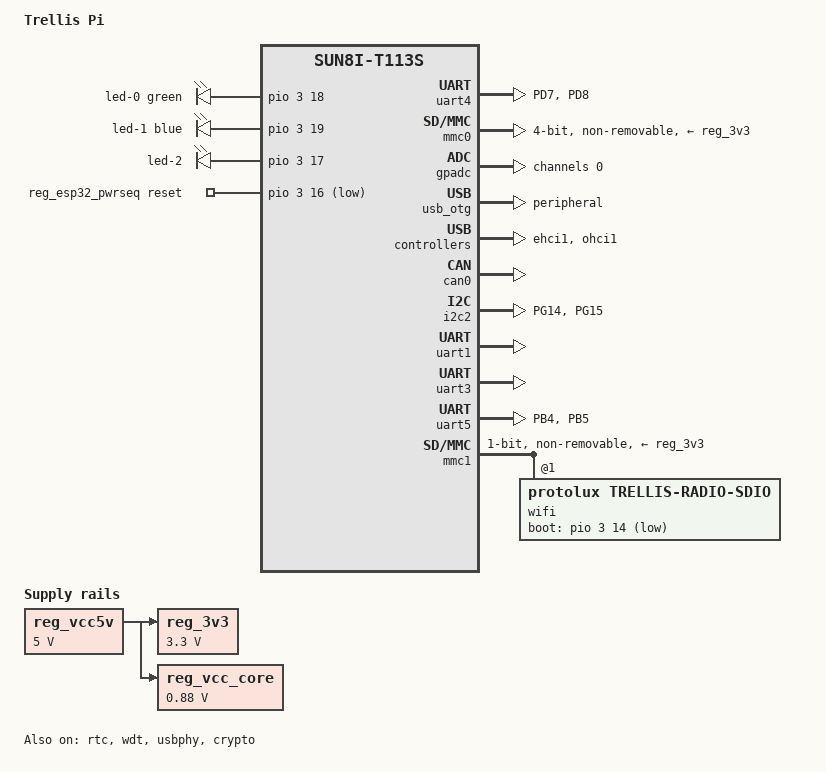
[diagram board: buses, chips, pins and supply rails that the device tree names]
// SPDX-License-Identifier: (GPL-2.0+ OR MIT)
// Copyright (C) 2022 Arm Ltd.
// Copyright (C) 2024 Connor Rigby <connorr@hey.com>

#include <dt-bindings/interrupt-controller/irq.h>

/dts-v1/;

#include <arm/allwinner/sun8i-t113s.dtsi>

#include <dt-bindings/gpio/gpio.h>
#include <dt-bindings/input/input.h>
#include <dt-bindings/leds/common.h>
#include <dt-bindings/pwm/pwm.h>

/ {
    model = "Trellis Pi";
    compatible = "protolux,trellis-pi", "allwinner,sun8i-t113s", "allwinner,sun8i";

    aliases {
      serial1 = &uart1;
      serial3 = &uart3;
      serial4 = &uart4;
      serial5 = &uart5;
      /*
      * Pin MMC controller indices so the on-board storage chip is always
      * mmcblk0 and the ESP32 is always mmcblk1. Without
      * these aliases the Linux MMC core assigns host->index by probe
      * completion order, which races between the two controllers.
      */
      mmc0 = &mmc0;
      mmc1 = &mmc1;
      };

    chosen {
        stdout-path = "serial4:115200n8";
    };

    leds {
        compatible = "gpio-leds";

        led-0 {
            color = <LED_COLOR_ID_GREEN>;
            function = LED_FUNCTION_STATUS;
            gpios = <&pio 3 18 GPIO_ACTIVE_HIGH>; /* PD18 */
            linux,default-trigger = "heartbeat";
        };

        led-1 {
            color = <LED_COLOR_ID_BLUE>;
            function = LED_FUNCTION_INDICATOR;
            gpios = <&pio 3 19 GPIO_ACTIVE_HIGH>; /* PD19 */
        };

        led-2 {
            function = "wlan";
            gpios = <&pio 3 17 GPIO_ACTIVE_HIGH>; /* PD17 */
            linux,default-trigger = "netdev";
        };
    };

    reg_vcc5v: regulator-5v {
        compatible = "regulator-fixed";
        regulator-name = "vcc-5v";
        regulator-min-microvolt = <5000000>;
        regulator-max-microvolt = <5000000>;
        regulator-always-on;
    };

    reg_3v3: regulator-3v3 {
        compatible = "regulator-fixed";
        regulator-name = "vcc-3v3";
        regulator-min-microvolt = <3300000>;
        regulator-max-microvolt = <3300000>;
        vin-supply = <&reg_vcc5v>;
        regulator-always-on;
    };

    reg_vcc_core: regulator-core {
        compatible = "regulator-fixed";
        regulator-name = "vcc-core";
        regulator-min-microvolt = <880000>;
        regulator-max-microvolt = <880000>;
        vin-supply = <&reg_vcc5v>;
        regulator-always-on;
    };

    /* ESP32C6 SDIO reset (EN pin), driven through the kernel's MMC
     * power-sequencing framework rather than a driver-owned GPIO toggle --
     * see ../../esp-hosted (trellis_radio driver)
     * knowledge_base/reset-and-power-sequencing.md for why. mmc-pwrseq-simple
     * is invoked by the MMC core's own mmc_power_up()/mmc_power_off(),
     * correctly serialized with mmc_rescan()/card re-enumeration. */
    reg_esp32_pwrseq: esp32-pwrseq {
        compatible = "mmc-pwrseq-simple";
        reset-gpios = <&pio 3 16 GPIO_ACTIVE_LOW>; /* PD16 = ESP_RESET */
        /* 200ms was the untuned starting value. Raised to 1800ms during the
         * same real-hardware session that found the bus-width=1 fix below
         * (see that comment) -- the firmware's application-level SDIO
         * slave HAL isn't ready to answer CCCR/FBR register access until
         * ~1.1-1.2s after enumeration, so this gives real margin before
         * mmc_rescan() even starts. Whether this delay alone was
         * necessary once bus-width=1 was also in place wasn't isolated
         * (both changed together); kept as a safety margin since it's
         * cheap and clearly can't hurt. */
        post-power-on-delay-ms = <1800>;
    };
};

&cpu0 {
    cpu-supply = <&reg_vcc_core>;
};

&cpu1 {
    cpu-supply = <&reg_vcc_core>;
};

&rtc {
    status = "okay";
};

&dcxo {
    clock-frequency = <24000000>;
};

&wdt {
    status = "okay";
};

&pio {
    vcc-pb-supply = <&reg_3v3>;
    vcc-pc-supply = <&reg_3v3>;
    vcc-pd-supply = <&reg_3v3>;
    vcc-pe-supply = <&reg_3v3>;
    vcc-pf-supply = <&reg_3v3>;
    vcc-pg-supply = <&reg_3v3>;

    gpio-line-names =
        /* PA */
        "","","","","","","","",
        "","","","","","","","",
        "","","","","","","","",
        "","","","","","","","",
        /* PB */
        "","","CAN0_TX","CAN0_RX","UART5_TX","UART5_RX","UART3_TX","UART3_RX",
        "","","","","","","","",
        "","","","","","","","",
        "","","","","","","","",
        /* PC */
        "","","CAN0_SIL","","","","","",
        "","","","","","","","",
        "","","","","","","","",
        "","","","","","","","",
        /* PD */
        "","","","","","","","UART4_TX",
        "UART4_RX","","","","","","ESP_BOOT","",
        "ESP_RESET","LED_GREEN","LED_BLUE","","","","","",
        "","","","","","","","",
        /* PE */
        "","","","","","","","",
        "","","","","","","","",
        "","","","","","","","",
        "","","","","","","","",
        /* PF */
        "","","","","","","","",
        "","","","","","","","",
        "","","","","","","","",
        "","","","","","","","",
        /* PG */
        "MMC1_CLK","MMC1_CMD","MMC1_D0","MMC1_D1","MMC1_D2","MMC1_D3","UART1_TX","UART1_RX",
        "UART1_RTS","","","","","","I2C2_SCL","I2C2_SDA",
        "","","","","","","","",
        "","","","","","","","";

    uart4_pd_pins: uart4-pd-pins {
        pins = "PD7", "PD8";
        function = "uart4";
    };

    /omit-if-no-ref/
    i2c2_pg_pins: i2c2-pg-pins {
        pins = "PG14", "PG15";
        function = "i2c2";
    };

    /omit-if-no-ref/
    uart5_pb_pins: uart5-pb-pins {
        pins = "PB4", "PB5";
        function = "uart5";
    };
};

/* shell */
&uart4 {
    pinctrl-names = "default";
    pinctrl-0 = <&uart4_pd_pins>;
    status = "okay";
};

&mmc0 {
    pinctrl-names = "default";
    pinctrl-0 = <&mmc0_pins>;
    vmmc-supply = <&reg_3v3>;
    disable-wp;
    bus-width = <4>;
    max-frequency = <50000000>;
    non-removable;
    broken-cd;
    no-1-8-v;
    status = "okay";
};

&gpadc {
    status = "okay";
    channel@0 {
        reg = <0>;
    };

};

&usb_otg {
    dr_mode = "peripheral";
    status = "okay";
};

&usbphy {
    status = "okay";
};

&ehci1 {
    status = "okay";
};

&ohci1 {
    status = "okay";
};

&spi0 {
    status = "disabled";
};

&spi1 {
    status = "disabled";
};

&mixer0 {
    status = "disabled";
};

&tcon_top {
    status = "disabled";
};

&tcon_lcd0 {
    status = "disabled";
};

&can0 {
    pinctrl-names = "default";
    pinctrl-0 = <&can0_pins>;
    silent-gpios = <&pio 2 2 GPIO_ACTIVE_HIGH>; /* PC2 */
    status = "okay";
};

&i2c2 {
    pinctrl-names = "default";
    pinctrl-0 = <&i2c2_pg_pins>;
    status = "okay";
};

/* ESP32C6 bootloader/download console + Bluetooth HCI (H4). Shares the
 * ROM-download-capable UART0 on the ESP32C6 side (TXD0/RXD0) so this same
 * wire also serves esptool recovery flashing via ESP_BOOT/ESP_RESET. See
 * ../../esp-hosted (trellis_radio) knowledge_base/bluetooth-uart-transport.md. */
&uart1 {
    pinctrl-names = "default";
    pinctrl-0 = <&uart1_pg6_pins>, <&uart1_pg8_rts_cts_pins>;
    uart-has-rtscts;
    linux,rs485-enabled-at-boot-time;
    rs485-rts-active-high;
    rs485-rts-delay-before-send = <1>;
    rs485-rts-delay-after-send = <1>;
    status = "okay";
};

&uart3 {
    pinctrl-names = "default";
    pinctrl-0 = <&uart3_pb_pins>;
    status = "okay";
};

/* ESP32C6 debug console/logs (IO12 TX / IO5 RX on the ESP32C6 side) --
 * enabled/disabled by the firmware's sdkconfig.defaults vs
 * sdkconfig.defaults.prod, not by switching this UART. */
&uart5 {
    pinctrl-names = "default";
    pinctrl-0 = <&uart5_pb_pins>;
    status = "okay";
};

&mmc1 {
    vmmc-supply = <&reg_3v3>;
    vqmmc-supply = <&reg_3v3>;
    /* 1-bit, not 4-bit: confirmed on real hardware that 4-bit mode's CCCR
     * bus-width-switch CMD52 reliably hangs against this ESP32C6
     * firmware (sdio_enable_func() then gets a hard bus-level ETIMEDOUT
     * on every subsequent CMD52, no matter the clock speed or how long
     * you wait/retry -- see esp-hosted's driver/sdio/esp_sdio.c
     * init_sdio_func() for the host-side half of this story). Schematic
     * review confirmed D0-D3/CMD/CLK pin assignment and pull-ups
     * (R38-R42, 51k) are wired correctly per ESP32C6's fixed SDIO slave
     * IOMUX pins, so this isn't a wiring bug -- something about the
     * 4-bit width-switch handshake itself breaks on this firmware/
     * kernel combination, root cause not yet confirmed. 1-bit mode
     * sidesteps that negotiation entirely; everything downstream
     * (including an independently-negotiated High Speed clock switch)
     * then works immediately and reliably. Trade-off: reduced SDIO
     * throughput. Revisit if 4-bit is ever needed -- a logic analyzer on
     * CMD/D0-D3 during the width switch would settle the real cause
     * directly. */
    bus-width = <1>;
    non-removable;
    broken-cd;
    no-1-8-v;
    mmc-pwrseq = <&reg_esp32_pwrseq>;
    pinctrl-names = "default";
    pinctrl-0 = <&mmc1_pins>;
    status = "okay";

    wifi@1 {
        compatible = "protolux,trellis-radio-sdio";
        reg = <1>;
        boot-gpios = <&pio 3 14 GPIO_ACTIVE_LOW>; /* PD14 = ESP_BOOT, optional */
    };
};

&crypto {
    status = "okay";
};

&pwm {
    status = "disabled";
};
